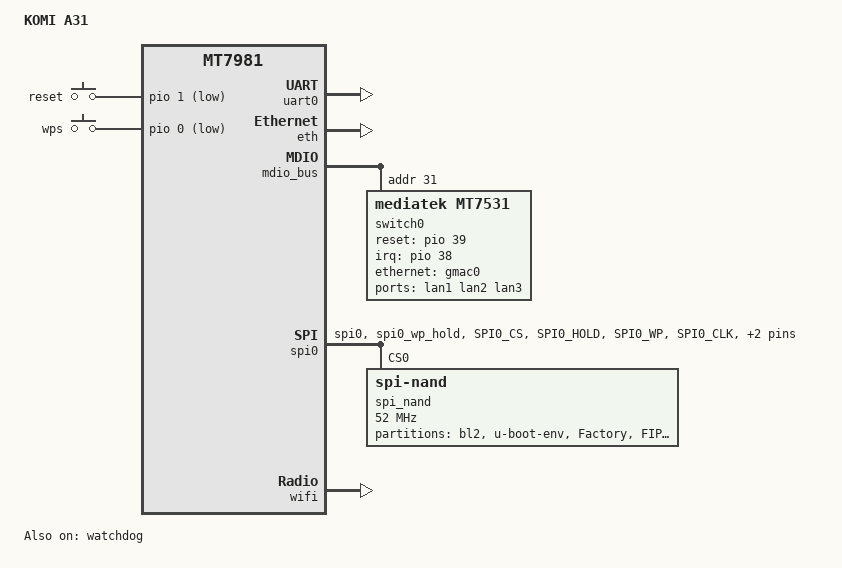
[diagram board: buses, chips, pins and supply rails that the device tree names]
/dts-v1/;

#include "mt7981.dtsi"

/ {
	model = "KOMI A31";
	compatible = "komi,a31", "mediatek,mt7981";

	aliases {
		ethernet0 = &gmac0;
		ethernet1 = &gmac1;
		serial0 = &uart0;
	};

	chosen {
		stdout-path = "serial0:115200n8";
	};

	gpio-keys {
		compatible = "gpio-keys";

		reset {
			label = "reset";
			linux,code = <KEY_RESTART>;
			gpios = <&pio 1 GPIO_ACTIVE_LOW>;
		};
    wps {
			label = "wps";
			linux,code = <KEY_WPS_BUTTON>;
			gpios = <&pio 0 GPIO_ACTIVE_LOW>;
		};
	};
};

&uart0 {
	status = "okay";
};

&watchdog {
	status = "okay";
};

&eth {
	pinctrl-names = "default";
	pinctrl-0 = <&mdio_pins>;

	status = "okay";

	gmac0: mac@0 {
		compatible = "mediatek,eth-mac";
		reg = <0>;
		phy-mode = "2500base-x";
		nvmem-cells = <&macaddr_2a>;
		nvmem-cell-names = "mac-address";

		fixed-link {
			speed = <2500>;
			full-duplex;
			pause;
		};
	};

	gmac1: mac@1 {
		compatible = "mediatek,eth-mac";
		reg = <1>;
		phy-mode = "gmii";
		phy-handle = <&int_gbe_phy>;
		nvmem-cells = <&macaddr_24>;
		nvmem-cell-names = "mac-address";
	};
};

&mdio_bus {
	switch0: switch@0 {
		compatible = "mediatek,mt7531";
		reg = <31>;
		dsa,member = <0 0>;
		reset-gpios = <&pio 39 GPIO_ACTIVE_HIGH>;
		interrupt-controller;
		#interrupt-cells = <1>;
		interrupt-parent = <&pio>;
		interrupts = <38 IRQ_TYPE_LEVEL_HIGH>;
	};
};

&switch0 {
	ports {
		#address-cells = <1>;
		#size-cells = <0>;

		port@0 {
			reg = <0>;
			label = "lan1";
		};

		port@1 {
			reg = <1>;
			label = "lan2";
		};

		port@2 {
			reg = <2>;
			label = "lan3";
		};

		port@6 {
			reg = <6>;
			ethernet = <&gmac0>;
			phy-mode = "2500base-x";

			fixed-link {
				speed = <2500>;
				full-duplex;
				pause;
			};
		};
	};
};

&spi0 {
	pinctrl-names = "default";
	pinctrl-0 = <&spi0_flash_pins>;
	status = "okay";

	spi_nand@0 {
		compatible = "spi-nand";
		#address-cells = <1>;
		#size-cells = <1>;
		reg = <0>;

		spi-max-frequency = <52000000>;
		spi-tx-buswidth = <4>;
		spi-rx-buswidth = <4>;

		partitions {
			compatible = "fixed-partitions";
			#address-cells = <1>;
			#size-cells = <1>;

			partition@0 {
				label = "bl2";
				reg = <0x0000000 0x0100000>;
				read-only;
			};

			partition@100000 {
				label = "u-boot-env";
				reg = <0x0100000 0x0080000>;
			};

			factory: partition@180000 {
				label = "Factory";
				reg = <0x0180000 0x0200000>;
				read-only;
			};

			partition@380000 {
				label = "FIP";
				reg = <0x0380000 0x0200000>;
				read-only;
			};

			partition@580000 {
				label = "ubi";
				reg = <0x0580000 0x7000000>;
			};
		};
	};
};

&pio {
	spi0_flash_pins: spi0-pins {
		mux {
			function = "spi";
			groups = "spi0", "spi0_wp_hold";
		};

		conf-pu {
			pins = "SPI0_CS", "SPI0_HOLD", "SPI0_WP";
			drive-strength = <8>;
			mediatek,pull-up-adv = <0>; /* bias-disable */
		};

		conf-pd {
			pins = "SPI0_CLK", "SPI0_MOSI", "SPI0_MISO";
			drive-strength = <8>;
			mediatek,pull-up-adv = <0>; /* bias-disable */
		};
	};
};

&factory {
	compatible = "nvmem-cells";
	#address-cells = <1>;
	#size-cells = <1>;

	macaddr_24: macaddr@24 {
		reg = <0x24 0x6>;
	};
	macaddr_2a: macaddr@2a {
		reg = <0x2a 0x6>;
	};
};

&wifi {
	mediatek,mtd-eeprom = <&factory 0x0>;

	status = "okay";
};
